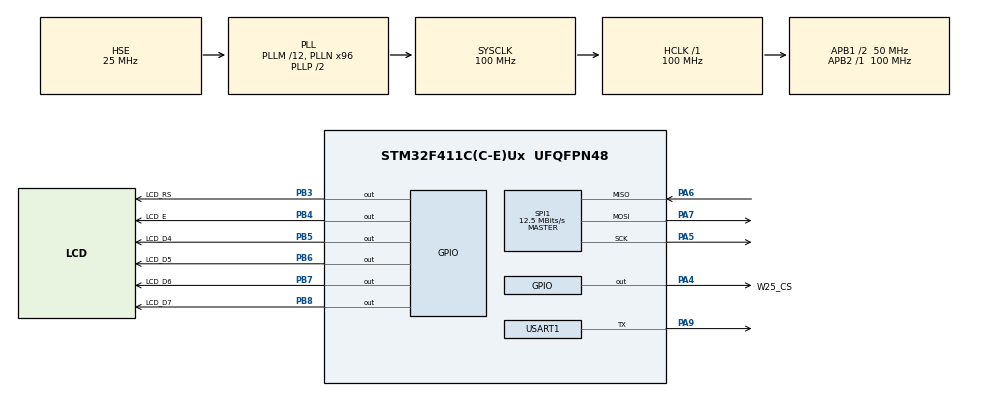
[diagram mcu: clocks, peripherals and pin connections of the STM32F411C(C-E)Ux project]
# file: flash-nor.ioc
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Mcu.Family=STM32F4
Mcu.Name=STM32F411C(C-E)Ux
Mcu.Package=UFQFPN48
NVIC.PriorityGroup=NVIC_PRIORITYGROUP_4
PA13.Mode=Serial_Wire
PA13.Signal=SYS_JTMS-SWDIO
PA14.Mode=Serial_Wire
PA14.Signal=SYS_JTCK-SWCLK
PA4.GPIO_Label=W25_CS
PA4.GPIO_Speed=GPIO_SPEED_FREQ_VERY_HIGH
PA4.PinState=GPIO_PIN_SET
PA4.Signal=GPIO_Output
PA5.Mode=Full_Duplex_Master
PA5.Signal=SPI1_SCK
PA6.Mode=Full_Duplex_Master
PA6.Signal=SPI1_MISO
PA7.Mode=Full_Duplex_Master
PA7.Signal=SPI1_MOSI
PA9.Mode=Half_duplex(single_wire_mode)
PA9.Signal=USART1_TX
PB3.GPIO_Label=LCD_RS
PB3.GPIO_Speed=GPIO_SPEED_FREQ_VERY_HIGH
PB3.PinState=GPIO_PIN_RESET
PB3.Signal=GPIO_Output
PB4.GPIO_Label=LCD_E
PB4.GPIO_Speed=GPIO_SPEED_FREQ_VERY_HIGH
PB4.PinState=GPIO_PIN_RESET
PB4.Signal=GPIO_Output
PB5.GPIO_Label=LCD_D4
PB5.GPIO_Speed=GPIO_SPEED_FREQ_VERY_HIGH
PB5.PinState=GPIO_PIN_RESET
PB5.Signal=GPIO_Output
PB6.GPIO_Label=LCD_D5
PB6.GPIO_Speed=GPIO_SPEED_FREQ_VERY_HIGH
PB6.PinState=GPIO_PIN_RESET
PB6.Signal=GPIO_Output
PB7.GPIO_Label=LCD_D6
PB7.GPIO_Speed=GPIO_SPEED_FREQ_VERY_HIGH
PB7.PinState=GPIO_PIN_RESET
PB7.Signal=GPIO_Output
PB8.GPIO_Label=LCD_D7
PB8.GPIO_Speed=GPIO_SPEED_FREQ_VERY_HIGH
PB8.PinState=GPIO_PIN_RESET
PB8.Signal=GPIO_Output
PH0\ -\ OSC_IN.Mode=HSE-External-Oscillator
PH0\ -\ OSC_IN.Signal=RCC_OSC_IN
PH1\ -\ OSC_OUT.Mode=HSE-External-Oscillator
PH1\ -\ OSC_OUT.Signal=RCC_OSC_OUT
ProjectManager.HeapSize=0x200
ProjectManager.StackSize=0x400
ProjectManager.TargetToolchain=STM32CubeIDE
RCC.48MHZClocksFreq_Value=50000000
RCC.AHBFreq_Value=100000000
RCC.APB1CLKDivider=RCC_HCLK_DIV2
RCC.APB1Freq_Value=50000000
RCC.APB1TimFreq_Value=100000000
RCC.APB2Freq_Value=100000000
RCC.APB2TimFreq_Value=100000000
RCC.CortexFreq_Value=100000000
RCC.HCLKFreq_Value=100000000
RCC.HSE_VALUE=25000000
RCC.HSI_VALUE=16000000
RCC.LSE_VALUE=32768
RCC.PLLM=12
RCC.PLLN=96
RCC.PLLSourceVirtual=RCC_PLLSOURCE_HSE
RCC.SYSCLKFreq_VALUE=100000000
RCC.SYSCLKSource=RCC_SYSCLKSOURCE_PLLCLK
RCC.VCOOutputFreq_Value=200000000
SPI1.BaudRatePrescaler=SPI_BAUDRATEPRESCALER_8
SPI1.CalculateBaudRate=12.5 MBits/s
SPI1.Direction=SPI_DIRECTION_2LINES
SPI1.Mode=SPI_MODE_MASTER
SPI1.VirtualType=VM_MASTER
TIM2.Prescaler=99
USART1.Mode=MODE_TX
USART1.VirtualMode=VM_ASYNC
VP_TIM2_VS_ClockSourceINT.Mode=Internal
board=custom

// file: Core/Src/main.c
/* USER CODE BEGIN Header */
/**
  ******************************************************************************
  * @file           : main.c
  * @brief          : Main program body
  ******************************************************************************
  * @attention
  *
  * Copyright (c) 2023 STMicroelectronics.
  * All rights reserved.
  *
  * This software is licensed under terms that can be found in the LICENSE file
  * in the root directory of this software component.
  * If no LICENSE file comes with this software, it is provided AS-IS.
  *
  ******************************************************************************
  */
/* USER CODE END Header */
#include "main.h"

/* USER CODE BEGIN Includes */
#include <stdio.h>

#include "nor.h"
#include "lcdDisplay.h"
/* USER CODE END Includes */

SPI_HandleTypeDef hspi1;

TIM_HandleTypeDef htim2;

UART_HandleTypeDef huart1;

/* USER CODE BEGIN PV */
nor_t Nor;
lcd_t Lcd;
/* USER CODE END PV */

void SystemClock_Config(void);
static void MX_GPIO_Init(void);
static void MX_SPI1_Init(void);
static void MX_USART1_UART_Init(void);
static void MX_TIM2_Init(void);

/* USER CODE BEGIN 0 */
/* NOR Functions */

void _nor_cs_assert(){
	HAL_GPIO_WritePin(W25_CS_GPIO_Port, W25_CS_Pin, GPIO_PIN_RESET);
}

void _nor_cs_deassert(){
	HAL_GPIO_WritePin(W25_CS_GPIO_Port, W25_CS_Pin, GPIO_PIN_SET);
}

void _nor_rx_fxn(uint8_t* RxBuff, uint32_t len){
	HAL_SPI_Receive(&hspi1, RxBuff, len, 100);
}

void _nor_tx_fxn(uint8_t* TxBuff, uint32_t len){
	HAL_SPI_Transmit(&hspi1, TxBuff, len, 100);
}

void _nor_delay_us(uint32_t us){
	if (us >= __HAL_TIM_GET_AUTORELOAD(&htim2)){
		us = __HAL_TIM_GET_AUTORELOAD(&htim2) - 1;
	}
	__HAL_TIM_SET_COUNTER(&htim2, 0);
	HAL_TIM_Base_Start(&htim2);
	while (__HAL_TIM_GET_COUNTER(&htim2) < us);
	HAL_TIM_Base_Stop(&htim2);
}

void __nor_init(){
	nor_err_e err;

	Nor.config.CsAssert = _nor_cs_assert;
	Nor.config.CsDeassert = _nor_cs_deassert;
	Nor.config.DelayUs = _nor_delay_us;
	Nor.config.SpiRxFxn = _nor_rx_fxn;
	Nor.config.SpiTxFxn = _nor_tx_fxn;

	err = NOR_Init(&Nor);
	if (err != NOR_OK){
		while(1);
	}
}

void __get_counter_Val(uint32_t *val){
	uint32_t addr = 0x1000;
	uint32_t _temp;

	NOR_ReadBytes(&Nor, (uint8_t*)&_temp, addr, sizeof(_temp));
	if (_temp != 0xFFFFFFFF){
		*val = _temp;
	}
}

void __set_couter_Val(uint32_t val){
	uint32_t addr = 0x1000;
	uint32_t page;

	page = addr/Nor.info.u16PageSize;

	// Sempre me consome 1 ciclo da vida util da memoria
	// baixa durabilidade
	if (NOR_IsEmptyPage(&Nor, page, 0, 4) == NOR_REGIONS_IS_NOT_EMPTY){
		NOR_EraseAddress(&Nor, addr, NOR_ERASE_4K);
	}
	// Falha no programa
	// Reboot!
	// Baixa confiabilidade, risco de perda de dados.

	NOR_WriteBytes(&Nor, (uint8_t*)&val, addr, sizeof(val));
}

/* LCD Functions */

void __lcd_init(){
	Lcd.columns = 16;
	Lcd.rows = 2;
	Lcd.font = LCD_FONT_5X8;
	Lcd.interface = LCD_INTERFACE_4BIT;

	Lcd.gpios[LCD_RS].GPIO = (uint32_t)LCD_RS_GPIO_Port;
	Lcd.gpios[LCD_RS].pin = LCD_RS_Pin;
	Lcd.gpios[LCD_E].GPIO = (uint32_t)LCD_E_GPIO_Port;
	Lcd.gpios[LCD_E].pin = LCD_E_Pin;
	Lcd.gpios[LCD_D4].GPIO = (uint32_t)LCD_D4_GPIO_Port;
	Lcd.gpios[LCD_D4].pin = LCD_D4_Pin;
	Lcd.gpios[LCD_D5].GPIO = (uint32_t)LCD_D5_GPIO_Port;
	Lcd.gpios[LCD_D5].pin = LCD_D5_Pin;
	Lcd.gpios[LCD_D6].GPIO = (uint32_t)LCD_D6_GPIO_Port;
	Lcd.gpios[LCD_D6].pin = LCD_D6_Pin;
	Lcd.gpios[LCD_D7].GPIO = (uint32_t)LCD_D7_GPIO_Port;
	Lcd.gpios[LCD_D7].pin = LCD_D7_Pin;

	lcd_init(&Lcd);
}

/* USER CODE END 0 */

int main(void)
{
  /* USER CODE BEGIN 1 */
	uint32_t halTick;
	uint32_t Counter = 0;
	char Tex[17];
  /* USER CODE END 1 */

  /* MCU Configuration--------------------------------------------------------*/

  /* Reset of all peripherals, Initializes the Flash interface and the Systick. */
  HAL_Init();

  /* Configure the system clock */
  SystemClock_Config();

  /* USER CODE BEGIN SysInit */
  HAL_Delay(500);
  /* USER CODE END SysInit */

  /* Initialize all configured peripherals */
  MX_GPIO_Init();
  MX_SPI1_Init();
  MX_USART1_UART_Init();
  MX_TIM2_Init();
  /* USER CODE BEGIN 2 */
  __nor_init();
  __get_counter_Val(&Counter);

  __lcd_init();
  lcd_send_string_pos(&Lcd, "Mem Flash NOR", 0, 0);
  /* USER CODE END 2 */

  /* Infinite loop */
  /* USER CODE BEGIN WHILE */
  while (1)
  {
	  halTick = HAL_GetTick();

	  sprintf(Tex, "C: 0x%08X", Counter);
	  lcd_send_string_pos(&Lcd, Tex, 1, 0);
	  __set_couter_Val(Counter);

	  while ((HAL_GetTick() - halTick) < 1000);
	  Counter++;
    /* USER CODE END WHILE */

  }
}

void SystemClock_Config(void)
{
  RCC_OscInitTypeDef RCC_OscInitStruct = {0};
  RCC_ClkInitTypeDef RCC_ClkInitStruct = {0};

  /** Configure the main internal regulator output voltage
  */
  __HAL_RCC_PWR_CLK_ENABLE();
  __HAL_PWR_VOLTAGESCALING_CONFIG(PWR_REGULATOR_VOLTAGE_SCALE1);

  /** Initializes the RCC Oscillators according to the specified parameters
  * in the RCC_OscInitTypeDef structure.
  */
  RCC_OscInitStruct.OscillatorType = RCC_OSCILLATORTYPE_HSE;
  RCC_OscInitStruct.HSEState = RCC_HSE_ON;
  RCC_OscInitStruct.PLL.PLLState = RCC_PLL_ON;
  RCC_OscInitStruct.PLL.PLLSource = RCC_PLLSOURCE_HSE;
  RCC_OscInitStruct.PLL.PLLM = 12;
  RCC_OscInitStruct.PLL.PLLN = 96;
  RCC_OscInitStruct.PLL.PLLP = RCC_PLLP_DIV2;
  RCC_OscInitStruct.PLL.PLLQ = 4;
  if (HAL_RCC_OscConfig(&RCC_OscInitStruct) != HAL_OK)
  {
    Error_Handler();
  }

  /** Initializes the CPU, AHB and APB buses clocks
  */
  RCC_ClkInitStruct.ClockType = RCC_CLOCKTYPE_HCLK|RCC_CLOCKTYPE_SYSCLK
                              |RCC_CLOCKTYPE_PCLK1|RCC_CLOCKTYPE_PCLK2;
  RCC_ClkInitStruct.SYSCLKSource = RCC_SYSCLKSOURCE_PLLCLK;
  RCC_ClkInitStruct.AHBCLKDivider = RCC_SYSCLK_DIV1;
  RCC_ClkInitStruct.APB1CLKDivider = RCC_HCLK_DIV2;
  RCC_ClkInitStruct.APB2CLKDivider = RCC_HCLK_DIV1;

  if (HAL_RCC_ClockConfig(&RCC_ClkInitStruct, FLASH_LATENCY_3) != HAL_OK)
  {
    Error_Handler();
  }
}

static void MX_SPI1_Init(void)
{

  /* SPI1 parameter configuration*/
  hspi1.Instance = SPI1;
  hspi1.Init.Mode = SPI_MODE_MASTER;
  hspi1.Init.Direction = SPI_DIRECTION_2LINES;
  hspi1.Init.DataSize = SPI_DATASIZE_8BIT;
  hspi1.Init.CLKPolarity = SPI_POLARITY_LOW;
  hspi1.Init.CLKPhase = SPI_PHASE_1EDGE;
  hspi1.Init.NSS = SPI_NSS_SOFT;
  hspi1.Init.BaudRatePrescaler = SPI_BAUDRATEPRESCALER_8;
  hspi1.Init.FirstBit = SPI_FIRSTBIT_MSB;
  hspi1.Init.TIMode = SPI_TIMODE_DISABLE;
  hspi1.Init.CRCCalculation = SPI_CRCCALCULATION_DISABLE;
  hspi1.Init.CRCPolynomial = 10;
  if (HAL_SPI_Init(&hspi1) != HAL_OK)
  {
    Error_Handler();
  }

}

static void MX_TIM2_Init(void)
{

  TIM_ClockConfigTypeDef sClockSourceConfig = {0};
  TIM_MasterConfigTypeDef sMasterConfig = {0};

  htim2.Instance = TIM2;
  htim2.Init.Prescaler = 99;
  htim2.Init.CounterMode = TIM_COUNTERMODE_UP;
  htim2.Init.Period = 4294967295;
  htim2.Init.ClockDivision = TIM_CLOCKDIVISION_DIV1;
  htim2.Init.AutoReloadPreload = TIM_AUTORELOAD_PRELOAD_DISABLE;
  if (HAL_TIM_Base_Init(&htim2) != HAL_OK)
  {
    Error_Handler();
  }
  sClockSourceConfig.ClockSource = TIM_CLOCKSOURCE_INTERNAL;
  if (HAL_TIM_ConfigClockSource(&htim2, &sClockSourceConfig) != HAL_OK)
  {
    Error_Handler();
  }
  sMasterConfig.MasterOutputTrigger = TIM_TRGO_RESET;
  sMasterConfig.MasterSlaveMode = TIM_MASTERSLAVEMODE_DISABLE;
  if (HAL_TIMEx_MasterConfigSynchronization(&htim2, &sMasterConfig) != HAL_OK)
  {
    Error_Handler();
  }

}

static void MX_USART1_UART_Init(void)
{

  huart1.Instance = USART1;
  huart1.Init.BaudRate = 115200;
  huart1.Init.WordLength = UART_WORDLENGTH_8B;
  huart1.Init.StopBits = UART_STOPBITS_1;
  huart1.Init.Parity = UART_PARITY_NONE;
  huart1.Init.Mode = UART_MODE_TX;
  huart1.Init.HwFlowCtl = UART_HWCONTROL_NONE;
  huart1.Init.OverSampling = UART_OVERSAMPLING_16;
  if (HAL_HalfDuplex_Init(&huart1) != HAL_OK)
  {
    Error_Handler();
  }

}

static void MX_GPIO_Init(void)
{
  GPIO_InitTypeDef GPIO_InitStruct = {0};

  /* GPIO Ports Clock Enable */
  __HAL_RCC_GPIOH_CLK_ENABLE();
  __HAL_RCC_GPIOA_CLK_ENABLE();
  __HAL_RCC_GPIOB_CLK_ENABLE();

  /*Configure GPIO pin Output Level */
  HAL_GPIO_WritePin(W25_CS_GPIO_Port, W25_CS_Pin, GPIO_PIN_SET);

  /*Configure GPIO pin Output Level */
  HAL_GPIO_WritePin(GPIOB, LCD_RS_Pin|LCD_E_Pin|LCD_D4_Pin|LCD_D5_Pin
                          |LCD_D6_Pin|LCD_D7_Pin, GPIO_PIN_RESET);

  /*Configure GPIO pin : W25_CS_Pin */
  GPIO_InitStruct.Pin = W25_CS_Pin;
  GPIO_InitStruct.Mode = GPIO_MODE_OUTPUT_PP;
  GPIO_InitStruct.Pull = GPIO_NOPULL;
  GPIO_InitStruct.Speed = GPIO_SPEED_FREQ_VERY_HIGH;
  HAL_GPIO_Init(W25_CS_GPIO_Port, &GPIO_InitStruct);

  /*Configure GPIO pins : LCD_RS_Pin LCD_E_Pin LCD_D4_Pin LCD_D5_Pin
                           LCD_D6_Pin LCD_D7_Pin */
  GPIO_InitStruct.Pin = LCD_RS_Pin|LCD_E_Pin|LCD_D4_Pin|LCD_D5_Pin
                          |LCD_D6_Pin|LCD_D7_Pin;
  GPIO_InitStruct.Mode = GPIO_MODE_OUTPUT_PP;
  GPIO_InitStruct.Pull = GPIO_NOPULL;
  GPIO_InitStruct.Speed = GPIO_SPEED_FREQ_VERY_HIGH;
  HAL_GPIO_Init(GPIOB, &GPIO_InitStruct);

}

/* USER CODE BEGIN 4 */
int __io_putchar(int ch){
	HAL_UART_Transmit(&huart1, (uint8_t*)&ch, 1, 10);

	return 0;
}
/* USER CODE END 4 */

void Error_Handler(void)
{
  __disable_irq();
  while (1)
  {
  }
}
